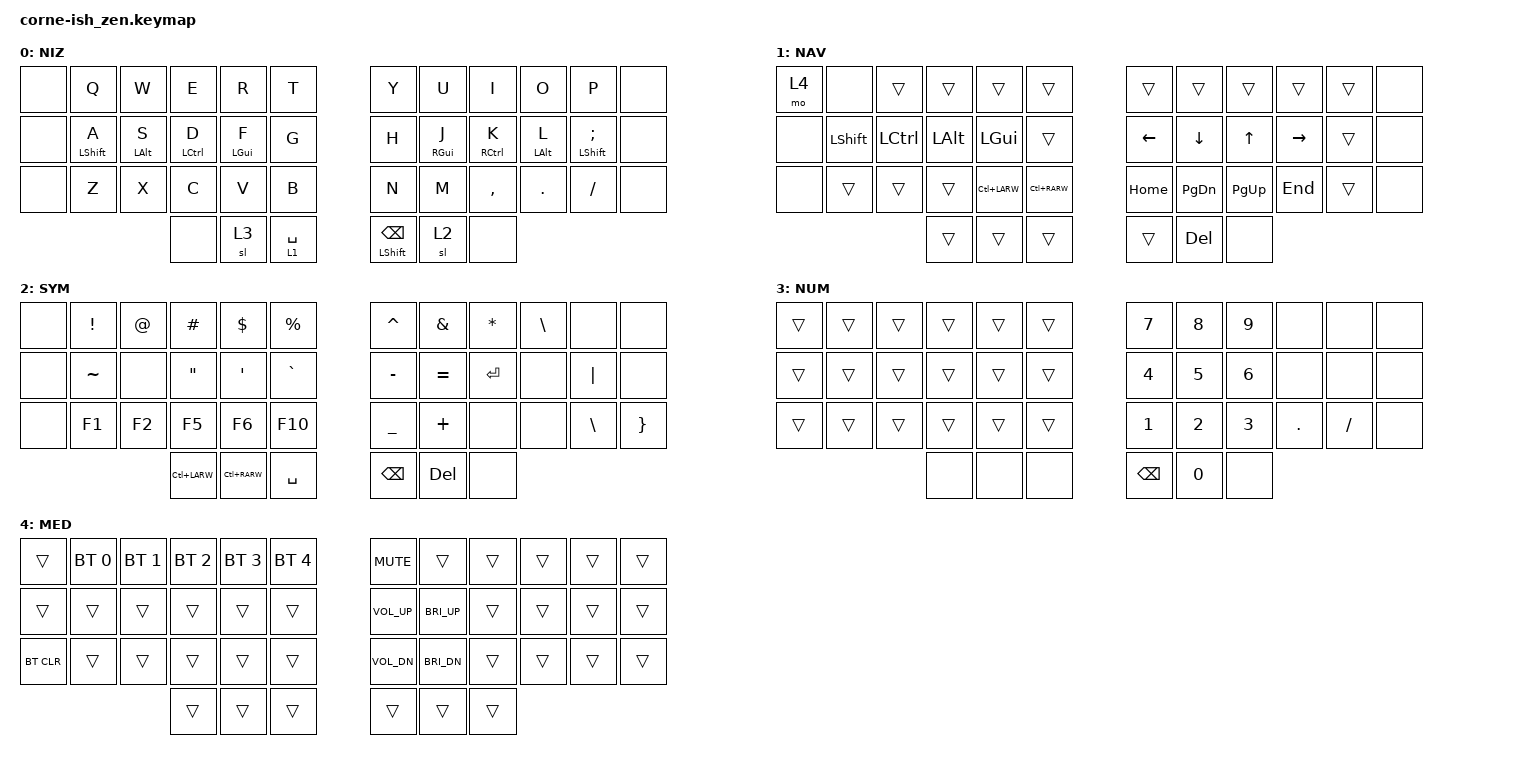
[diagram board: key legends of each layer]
/*
*
* Copyright (c) 2021 lowprokb.ca
* SPDX-License-Identifier: MIT
*
*/

#include <behaviors.dtsi>
#include <dt-bindings/zmk/keys.h>
#include <dt-bindings/zmk/bt.h>

#define NIZ 0
#define NAV 1
#define SYM 2
#define NUM 3
#define MED 4

#define COMBO(NAME, BINDINGS, KEYPOS) \
  combo_##NAME { \
    timeout-ms = <40>; \
    bindings = <BINDINGS>; \
    key-positions = <KEYPOS>; \
  };

// Using layer taps on thumbs, having quick tap as well helps w/ repeating space/backspace
&lt { quick_tap_ms = <200>; };
&mt { quick_tap_ms = <200>; };

/ {
   combos {
     compatible = "zmk,combos";

       COMBO(enter, &kp RET, 19 20)
       COMBO(tab, &kp TAB, 15 16)
       COMBO(esc, &kp ESC, 16 17)
       COMBO(quote, &kp SQT, 18 19)
       COMBO(leftpar, &kp LEFT_PARENTHESIS, 6 7)
       COMBO(rightpar, &kp RIGHT_PARENTHESIS, 7 8)
       COMBO(vimslash, &kp FSLH, 32 33)
       COMBO(question, &kp QMARK, 26 27)
       COMBO(leftbracket, &kp LEFT_BRACKET, 4 16)
       COMBO(rightbracket, &kp RIGHT_BRACKET, 5 17)
       COMBO(leftbrace, &kp LEFT_BRACE, 6 18)
       COMBO(rightbrace, &kp RIGHT_BRACE, 7 19)
    };

    behaviors {
        hm: homerow_mods {
            compatible = "zmk,behavior-hold-tap";
            label = "homerow mods";
            #binding-cells = <2>;
            tapping_term_ms = <200>;
            flavor = "tap-preferred";
            bindings = <&kp>, <&kp>; 
	    };
    };
        
        keymap {
            compatible = "zmk,keymap";

            base_layer {
                label = "NIZ";
                bindings = <
        // ╭─────────────┬─────────────┬─────────────┬─────────────┬─────────────┬─────────────╮   ╭─────────────┬─────────────┬─────────────┬─────────────┬─────────────┬─────────────╮
             &none         &kp Q         &kp W         &kp E         &kp R         &kp T             &kp Y         &kp U         &kp I         &kp O         &kp P           &none
        // ├─────────────├─────────────┼─────────────┼─────────────┼─────────────┼─────────────┤   ├─────────────┼─────────────┼─────────────┼─────────────┼─────────────┤─────────────┤
             &none         &hm LSHFT A   &hm LALT S    &hm LCTRL D   &hm LGUI  F   &kp G             &kp H         &hm RGUI J    &hm RCTRL K   &hm LALT L    &hm LSHFT SEMI  &none
        // ├─────────────├─────────────┼─────────────┼─────────────┼─────────────┼─────────────┤   ├─────────────┼─────────────┼─────────────┼─────────────┼─────────────┤─────────────┤
             &none         &kp Z         &kp X         &kp C         &kp V         &kp B             &kp N         &kp M         &kp COMMA     &kp DOT       &kp FSLH        &none
        // ╰─────────────┴─────────────┴─────────────┴─────────────┼─────────────┼─────────────┤   ├─────────────┼─────────────┼─────────────┴─────────────┴─────────────┤─────────────╯
                                                       &none         &sl 3         &lt 1 SPACE      &mt LSHFT BKSP &sl 2         &none
        //                                           ╰─────────────┴─────────────┴─────────────╯   ╰─────────────┴─────────────┴─────────────╯
      >;
    };

        nav_layer {
            label = "NAV";
            bindings = <
        // ╭─────────────┬─────────────┬─────────────┬─────────────┬─────────────┬─────────────╮   ╭─────────────┬─────────────┬─────────────┬─────────────┬─────────────┬─────────────╮
             &mo 4         &none         &trans        &trans        &trans        &trans            &trans        &trans        &trans        &trans        &trans        &none
        // ├─────────────├─────────────┼─────────────┼─────────────┼─────────────┼─────────────┤   ├─────────────┼─────────────┼─────────────┼─────────────┼─────────────┤─────────────┤
             &none         &kp LSHFT     &kp LCTRL     &kp LALT      &kp LGUI      &trans            &kp LEFT      &kp DOWN      &kp UP        &kp RIGHT     &trans        &none 
        // ├─────────────├─────────────┼─────────────┼─────────────┼─────────────┼─────────────┤   ├─────────────┼─────────────┼─────────────┼─────────────┼─────────────┤─────────────┤
             &none         &trans        &trans        &trans        &kp LC(LARW)  &kp LC(RARW)      &kp HOME      &kp PG_DN     &kp PG_UP     &kp END       &trans        &none
        // ╰─────────────┴─────────────┴─────────────┴─────────────┼─────────────┼─────────────┤   ├─────────────┼─────────────┼─────────────┴─────────────┴─────────────┤─────────────╯
                                                       &trans        &trans        &trans            &trans        &kp DEL       &none
        //                                           ╰─────────────┴─────────────┴─────────────╯   ╰─────────────┴─────────────┴─────────────╯
      >;
    };



        symbol_layer {
            label = "SYM";
            bindings = <
        // ╭─────────────┬─────────────┬─────────────┬─────────────┬─────────────┬─────────────╮   ╭─────────────┬─────────────┬─────────────┬─────────────┬─────────────┬─────────────╮
             &none         &kp EXCL      &kp AT        &kp HASH      &kp DLLR      &kp PRCNT         &kp CARET     &kp AMPS      &kp ASTRK     &kp BSLH      &none         &none 
        // ├─────────────├─────────────┼─────────────┼─────────────┼─────────────┼─────────────┤   ├─────────────┼─────────────┼─────────────┼─────────────┼─────────────┤─────────────┤
             &none         &kp TILDE     &none         &kp DQT       &kp SQT       &kp GRAVE         &kp MINUS     &kp EQUAL     &kp RET       &none         &kp PIPE      &none 
        // ├─────────────├─────────────┼─────────────┼─────────────┼─────────────┼─────────────┤   ├─────────────┼─────────────┼─────────────┼─────────────┼─────────────┤─────────────┤
             &none         &kp F1        &kp F2        &kp F5        &kp F6        &kp F10           &kp UNDER     &kp PLUS      &none         &none         &kp BSLH      &kp RBRC
        // ╰─────────────┴─────────────┴─────────────┴─────────────┼─────────────┼─────────────┤   ├─────────────┼─────────────┼─────────────┴─────────────┴─────────────┤─────────────╯
                                                       &kp LC(LARW)  &kp LC(RARW)  &kp SPACE         &kp BSPC      &kp DEL       &none
        //                                           ╰─────────────┴─────────────┴─────────────╯   ╰─────────────┴─────────────┴─────────────╯
      >;
    };

        number_layer {
            label = "NUM";
            bindings = <
        // ╭─────────────┬─────────────┬─────────────┬─────────────┬─────────────┬─────────────╮   ╭─────────────┬─────────────┬─────────────┬─────────────┬─────────────┬─────────────╮
             &trans        &trans        &trans        &trans        &trans        &trans            &kp N7        &kp N8        &kp N9        &none         &none         &none       
        // ├─────────────├─────────────┼─────────────┼─────────────┼─────────────┼─────────────┤   ├─────────────┼─────────────┼─────────────┼─────────────┼─────────────┤─────────────┤
             &trans        &trans        &trans        &trans        &trans        &trans            &kp N4        &kp N5        &kp N6        &none         &none         &none
        // ├─────────────├─────────────┼─────────────┼─────────────┼─────────────┼─────────────┤   ├─────────────┼─────────────┼─────────────┼─────────────┼─────────────┤─────────────┤
             &trans        &trans        &trans        &trans        &trans        &trans            &kp N1        &kp N2        &kp N3        &kp DOT       &kp FSLH       &none
        // ╰─────────────┴─────────────┴─────────────┴─────────────┼─────────────┼─────────────┤   ├─────────────┼─────────────┼─────────────┴─────────────┴─────────────┤─────────────╯
                                                       &none         &none         &none             &kp BSPC      &kp N0        &none
        //                                           ╰─────────────┴─────────────┴─────────────╯   ╰─────────────┴─────────────┴─────────────╯
      >;
    };
        media_layer {
          label = "MED";
          bindings = <
        // ╭─────────────┬─────────────┬─────────────┬─────────────┬─────────────┬─────────────╮   ╭─────────────┬─────────────┬─────────────┬─────────────┬─────────────┬─────────────╮
             &trans        &bt BT_SEL 0  &bt BT_SEL 1  &bt BT_SEL 2  &bt BT_SEL 3  &bt BT_SEL 4      &kp C_MUTE    &trans        &trans        &trans        &trans        &trans 
        // ├─────────────├─────────────┼─────────────┼─────────────┼─────────────┼─────────────┤   ├─────────────┼─────────────┼─────────────┼─────────────┼─────────────┤─────────────┤
             &trans        &trans        &trans        &trans        &trans        &trans            &kp C_VOL_UP  &kp C_BRI_UP  &trans        &trans        &trans        &trans 
        // ├─────────────├─────────────┼─────────────┼─────────────┼─────────────┼─────────────┤   ├─────────────┼─────────────┼─────────────┼─────────────┼─────────────┤─────────────┤
             &bt BT_CLR    &trans        &trans        &trans        &trans        &trans            &kp C_VOL_DN  &kp C_BRI_DN  &trans        &trans        &trans        &trans 
        // ╰─────────────┴─────────────┴─────────────┴─────────────┼─────────────┼─────────────┤   ├─────────────┼─────────────┼─────────────┴─────────────┴─────────────┤─────────────╯
                                                       &trans        &trans	   &trans            &trans        &trans        &trans   
        //                                           ╰─────────────┴─────────────┴─────────────╯   ╰─────────────┴─────────────┴─────────────╯
            >;
        };
    };
};
